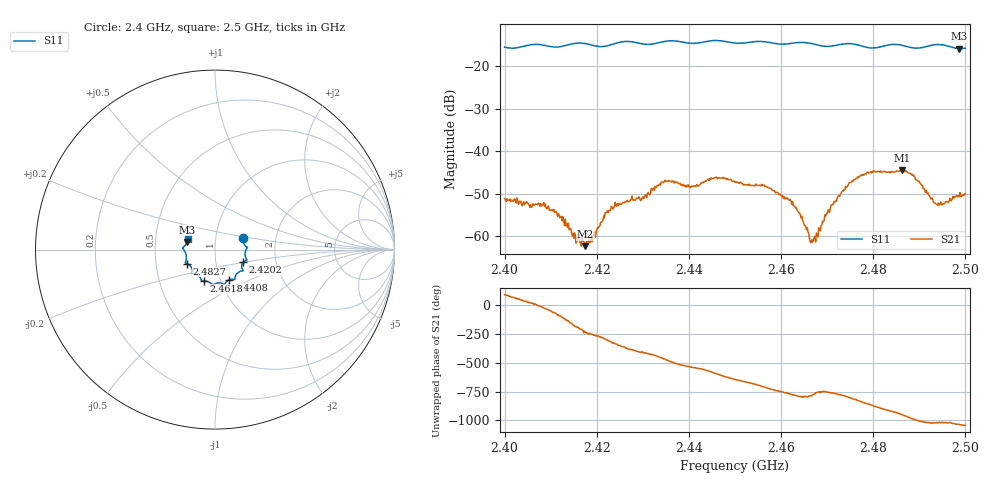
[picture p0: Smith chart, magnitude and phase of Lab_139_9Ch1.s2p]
# Hz S RI R 50
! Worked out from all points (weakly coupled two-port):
!   601 points, 2.4 GHz to 2.5 GHz, reference 50 ohm
!   highest |S21| = -44.46 dB at 2.4862 GHz (marker M1); lowest = -62.4 dB at 2.4175 GHz (marker M2)
!   lowest |S11| = -15.8 dB at 2.4987 GHz (marker M3), VSWR 1.39, Z = 36.4 + j3.16 ohm
!   |S11| at or under -10 dB: start of sweep to end of sweep
!   S12 and S22 are empty: the file has one direction only
!   S11 on the Smith chart (normalised r, x): 2.4 GHz: 1.36, +0.17; 2.4202 GHz: 1.36, -0.20; 2.4408 GHz: 1.10, -0.38; 2.4618 GHz: 0.84, -0.30; 2.4827 GHz: 0.72, -0.12; 2.5 GHz: 0.73, +0.09
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2.4e9  0.1562 0.062  -6.25e-05 0.00276  0 0  0 0
2.409e9  0.1749 0.00277  0.0018 -0.00118  0 0  0 0
2.416667e9  0.178 -0.0595  -0.000635 0.000415  0 0  0 0
2.4175e9  0.1752 -0.0602  -0.000466 0.000598  0 0  0 0
2.420167e9  0.1567 -0.0704  -7.37e-05 0.00126  0 0  0 0
2.423667e9  0.1506 -0.1048  0.00179 0.00121  0 0  0 0
2.429833e9  0.1369 -0.1228  0.00188 -0.00208  0 0  0 0
2.433333e9  0.112 -0.1521  0.000253 -0.00391  0 0  0 0
2.440833e9  0.0788 -0.1688  -0.00381 5.8e-05  0 0  0 0
2.4455e9  0.0523 -0.1944  -0.00316 0.00369  0 0  0 0
2.45e9  0.0279 -0.1858  0.00106 0.00418  0 0  0 0
2.456333e9  -0.0155 -0.1946  0.0039 0.000719  0 0  0 0
2.461833e9  -0.0603 -0.1751  0.00177 -0.00196  0 0  0 0
2.466667e9  -0.0769 -0.1684  0.000365 -0.000825  0 0  0 0
2.475e9  -0.1269 -0.1346  0.000414 -0.00426  0 0  0 0
2.482667e9  -0.1572 -0.0779  -0.00567 0.000571  0 0  0 0
2.483333e9  -0.1614 -0.0764  -0.00553 0.00135  0 0  0 0
2.486167e9  -0.1638 -0.0674  -0.00391 0.00452  0 0  0 0
2.4885e9  -0.1595 -0.0429  -0.000413 0.00532  0 0  0 0
2.4935e9  -0.1796 0.00656  0.00116 0.00213  0 0  0 0
2.498667e9  -0.1559 0.0423  0.00199 0.00213  0 0  0 0
2.5e9  -0.1518 0.0615  0.00249 0.00187  0 0  0 0
